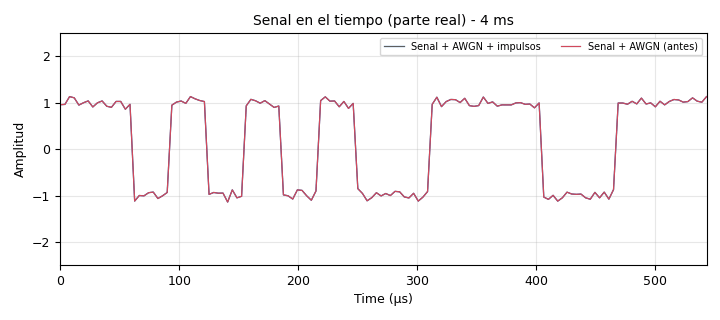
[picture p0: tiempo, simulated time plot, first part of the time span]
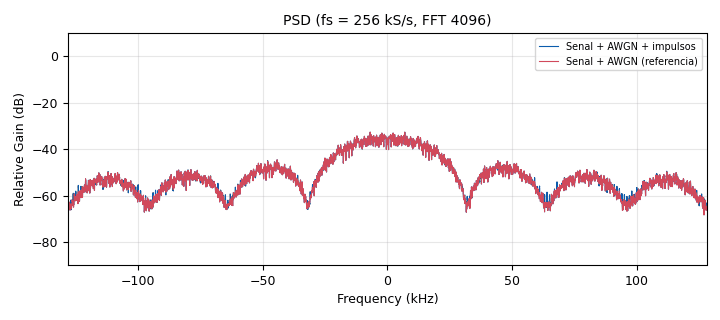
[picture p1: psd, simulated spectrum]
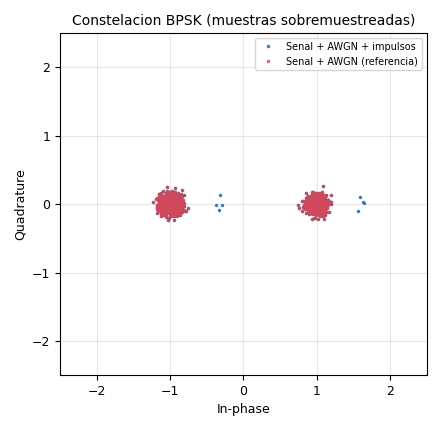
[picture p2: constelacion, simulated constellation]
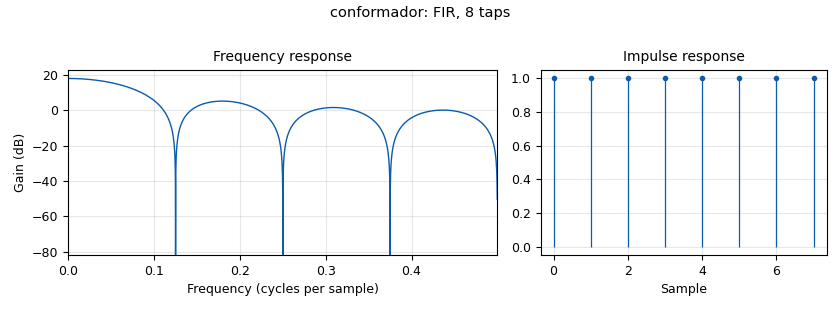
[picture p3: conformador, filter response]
options:
  parameters:
    author: Luis Arley Martinez Caballero - Johan Sebastian Gomez Hernandez
    description: GRC base (constelaciones + AWGN) + fuente vectorial de impulsos [0j]*255+[A_imp] sumada despues del ruido.
    generate_options: qt_gui
    id: Enlace_Beta_Impulsivo_BPSK
    output_language: python
    title: S1 Telemetria industrial - BPSK con perturbacion impulsiva
  states: {}

blocks:
- name: Rs
  id: variable
  parameters:
    comment: 'Ficha tecnica S1: 32 ksym/s'
    value: '32000'
  states: {}
- name: Sps
  id: variable
  parameters:
    value: '8'
  states: {}
- name: samp_rate
  id: variable
  parameters:
    comment: fs = 256 kS/s
    value: Rs*Sps
  states: {}
- name: N_imp
  id: variable
  parameters:
    comment: 'Periodo del impulso: 256 muestras = 1 ms'
    value: '256'
  states: {}
- name: noise_amp
  id: variable_qtgui_range
  parameters:
    label: Ruido base AWGN (noise_amp)
    start: '0'
    step: '0.01'
    stop: '1'
    value: '0.1'
  states: {}
- name: A_imp
  id: variable_qtgui_range
  parameters:
    label: Amplitud del impulso (0 / 0.3 / 0.6 / 1.0)
    start: '0'
    step: '0.05'
    stop: '1.5'
    value: '0.6'
  states: {}
- name: import_0
  id: import
  parameters:
    imports: import math
  states: {}
- name: fuente_bits
  id: analog_random_source_x
  parameters:
    comment: Bits aleatorios 0/1 (cadena del GRC base)
    type: byte
    min: '0'
    max: '2'
    num_samps: '65536'
    repeat: 'True'
  states: {}
- name: pack_bits
  id: blocks_pack_k_bits_bb
  parameters:
    k: '8'
  states: {}
- name: unpack_bits
  id: blocks_packed_to_unpacked_xx
  parameters:
    type: byte
    bits_per_chunk: bps
    endianness: gr.GR_MSB_FIRST
  states: {}
- name: ruido
  id: analog_noise_source_x
  parameters:
    comment: AWGN base del GRC original (noise_amp = 0.10)
    type: complex
    noise_type: analog.GR_GAUSSIAN
    amp: noise_amp
    seed: '0'
  states: {}
- name: impulsos
  id: blocks_vector_source_x
  parameters:
    comment: 'Perturbacion impulsiva: 255 ceros y un impulso (cada 1 ms)'
    type: complex
    vector: '[0j]*(N_imp-1) + [A_imp+0j]'
    repeat: 'True'
  states: {}
- name: sumar_ruido
  id: blocks_add_xx
  parameters:
    comment: 'Add original: senal + AWGN'
    type: complex
  states: {}
- name: sumar_impulsos
  id: blocks_add_xx
  parameters:
    comment: 'Segundo Add: senal + AWGN + impulsos (despues del ruido, como pide la guia)'
    type: complex
  states: {}
- name: tabla
  id: variable
  parameters:
    comment: Mapeo (-1+0j, 1+0j)
    value: (-1+0j, 1+0j)
  states: {}
- name: M
  id: variable
  parameters:
    value: len(tabla)
  states: {}
- name: bps
  id: variable
  parameters:
    value: int(math.log(M,2))
  states: {}
- name: Rb
  id: variable
  parameters:
    comment: Rb = 32 kb/s
    value: Rs*bps
  states: {}
- name: taps_tx
  id: variable
  parameters:
    comment: Pulso rectangular del GRC base (BW ~64 kHz entre nulos)
    value: '[1.0]*Sps'
  states: {}
- name: mapeo
  id: digital_chunks_to_symbols_xx
  parameters:
    dimension: '1'
    in_type: byte
    out_type: complex
    symbol_table: tabla
  states: {}
- name: conformador
  id: interp_fir_filter_xxx
  parameters:
    comment: 'Interpolating FIR: pulso rectangular de Sps muestras'
    interp: Sps
    taps: taps_tx
    type: ccf
  states: {}
- name: throttle
  id: blocks_throttle
  parameters:
    type: complex
    samples_per_second: samp_rate
  states: {}
- name: re_antes
  id: blocks_complex_to_real
  parameters: {}
  states: {}
- name: re_despues
  id: blocks_complex_to_real
  parameters: {}
  states: {}
- name: tiempo
  id: qtgui_time_sink_x
  parameters:
    grid: 'True'
    label1: Senal + AWGN + impulsos
    label2: Senal + AWGN (antes)
    name: '"Senal en el tiempo (parte real) - 4 ms"'
    nconnections: '2'
    size: '1024'
    srate: samp_rate
    type: float
    ylabel: Amplitud
    ymax: '2.5'
    ymin: '-2.5'
  states: {}
- name: psd
  id: qtgui_freq_sink_x
  parameters:
    average: '0.05'
    bw: samp_rate
    fc: '0'
    fftsize: '4096'
    grid: 'True'
    label1: Senal + AWGN + impulsos
    label2: Senal + AWGN (referencia)
    name: '"PSD (fs = 256 kS/s, FFT 4096)"'
    nconnections: '2'
    type: complex
    ymin: '-90'
  states: {}
- name: constelacion
  id: qtgui_const_sink_x
  parameters:
    grid: 'True'
    label1: Senal + AWGN + impulsos
    label2: Senal + AWGN (referencia)
    marker2: '-1'
    name: '"Constelacion BPSK (muestras sobremuestreadas)"'
    nconnections: '2'
    size: '2048'
    type: complex
    xmax: '2.5'
    xmin: '-2.5'
    ymax: '2.5'
    ymin: '-2.5'
  states: {}

connections:
- [fuente_bits, '0', pack_bits, '0']
- [pack_bits, '0', unpack_bits, '0']
- [unpack_bits, '0', mapeo, '0']
- [mapeo, '0', conformador, '0']
- [conformador, '0', throttle, '0']
- [throttle, '0', sumar_ruido, '0']
- [ruido, '0', sumar_ruido, '1']
- [sumar_ruido, '0', sumar_impulsos, '0']
- [impulsos, '0', sumar_impulsos, '1']
- [sumar_ruido, '0', re_antes, '0']
- [sumar_impulsos, '0', re_despues, '0']
- [re_despues, '0', tiempo, '0']
- [re_antes, '0', tiempo, '1']
- [sumar_impulsos, '0', psd, '0']
- [sumar_ruido, '0', psd, '1']
- [sumar_impulsos, '0', constelacion, '0']
- [sumar_ruido, '0', constelacion, '1']

metadata:
  file_format: 1
  grc_version: 3.10.11.0
